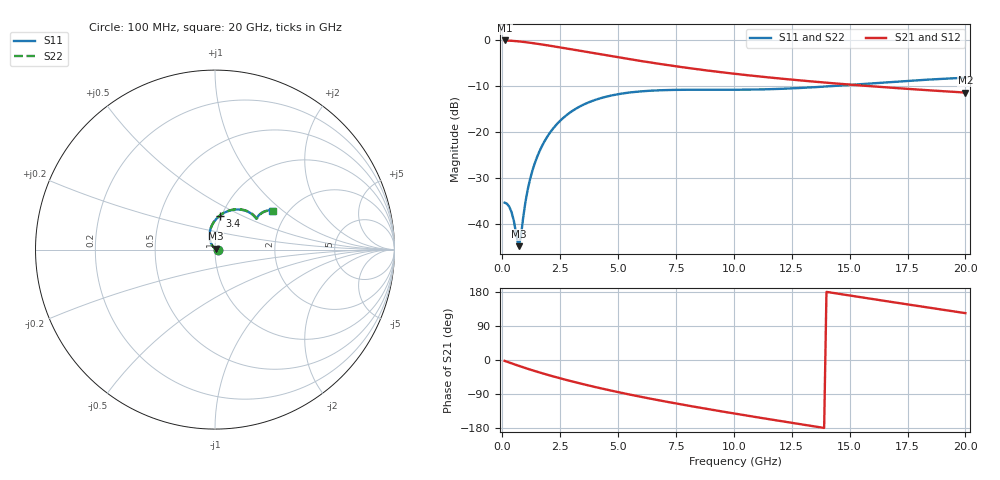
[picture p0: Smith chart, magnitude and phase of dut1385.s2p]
! Touchstone file exported from HFSS 2024.1.0
!  File:  C:/UserFiles/LocalFiles/RDL_TSV_Batchsim/temp_RDL_TSV_1385_1780402286.aedt
!  Generated:  08:28:55 PM Jun  2, 2026
!  Design:  RDL_TSV
!  Project:  temp_RDL_TSV_1385_1780402286
!  Setup:  Setup1
!  Solution:  Sweep
! Variables:
!  dtsv = 12.61um
!  hbump = 3um
!  htsv = 82.15um
!  ldown = 511.87um
!  lrdl = 433.48um
!  p = 40
!  p1 = 59.48um
!  rhole = 10um
!  subl = 3269.53um
!  t = 450um
!  tdown = 3.62um
!  trdl = 2.93um
!  viad = 10um
!  wdown = 26.93um
!  wrdl = 18.55um
!  xbump = 18um
# GHz S MA R 50.000000
! Terminal data exported
! Port[1] = TM1_1_T1
! Port[2] = TM1_4_T1
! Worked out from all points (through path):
!   200 points, 100 MHz to 20 GHz, reference 50 ohm
!   highest |S21| = -0.16 dB at 100 MHz (marker M1); lowest = -11.5 dB at 20 GHz (marker M2)
!   group delay of S21, straight-line fit = 30.7 ps
!   lowest |S11| = -44.8 dB at 700 MHz (marker M3), VSWR 1.01, Z = 50.4 + j0.458 ohm
!   |S11| at or under -10 dB: start of sweep to 14.4 GHz
!   |S22| runs from -44.8 to -8.2 dB; largest |S21 - S12| = 5.4e-14
!   S11 on the Smith chart (normalised r, x): 100 MHz: 1.03, +0.00; 3.4 GHz: 0.98, +0.39; 20 GHz: 1.67, +0.85
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0.1  0.01713 1.5  0.982 -2.3  0.982 -2.3  0.01713 1.5
! Gamma 0 0 0 0
! Port Impedance 50 0 50 0
0.3  0.0155 2.5  0.9773 -6.7  0.9773 -6.7  0.01549 2.5
0.4  0.01352 3.7  0.9738 -8.8  0.9738 -8.8  0.0135 3.7
0.5  0.01085 7.7  0.9698 -11.0  0.9698 -11.0  0.01082 7.8
0.7  0.00578 51.9  0.9599 -15.2  0.9599 -15.2  0.005764 52.5
0.8  0.007231 94.4  0.9543 -17.2  0.9543 -17.2  0.007269 94.9
0.9  0.0117 114.3  0.9481 -19.3  0.9481 -19.3  0.01178 114.6
1  0.01745 121.3  0.9416 -21.3  0.9416 -21.3  0.01755 121.5
1.1  0.02389 123.5  0.9348 -23.3  0.9348 -23.3  0.02402 123.7
1.3  0.03807 122.7  0.9203 -27.1  0.9203 -27.1  0.03825 122.8
1.6  0.06126 117.5  0.8973 -32.8  0.8973 -32.8  0.06154 117.6
2  0.09343 108.8  0.8654 -39.9  0.8654 -39.9  0.09384 108.9
2.4  0.1248 100.3  0.8333 -46.7  0.8333 -46.7  0.1254 100.4
3.4  0.1919 81.7  0.7559 -62.4  0.7559 -62.4  0.1928 81.8
3.5  0.1975 80.1  0.7484 -63.9  0.7484 -63.9  0.1984 80.2
5.1  0.2593 59.4  0.6394 -86.1  0.6394 -86.1  0.2608 59.5
6.8  0.2832 46.1  0.5467 -106.8  0.5467 -106.8  0.2851 46.1
8.4  0.2869 39.5  0.4798 -124.4  0.4798 -124.4  0.2891 39.5
10.1  0.287 36.9  0.4256 -142.0  0.4256 -142.0  0.2891 36.8
13.4  0.3049 37.9  0.3524 -174.5  0.3524 -174.5  0.3066 37.6
16.7  0.3471 37.7  0.3031 154.2  0.3031 154.2  0.3481 37.4
20  0.3871 34.2  0.2674 123.6  0.2674 123.6  0.3877 34.0
